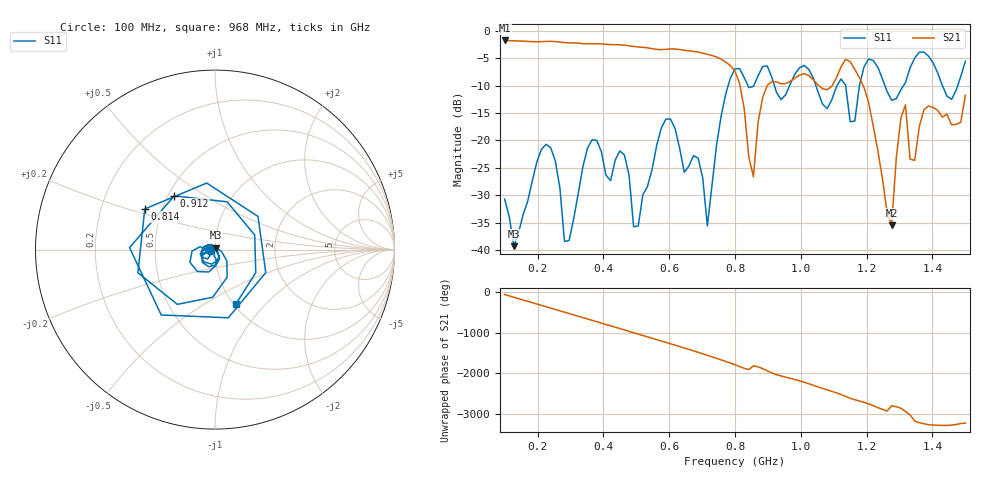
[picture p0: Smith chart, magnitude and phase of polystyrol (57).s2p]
! NanoVNA-App
! Date: 2025-09-26 09:42:19
! Start: 100MHz Stop: 1,5GHz Points: 101
! S-Parameter data: F S11 S21 S12 S22
# Hz S RI R 50
!  Frequency  S11_Real  S11_Imag  S21_Real  S21_Imag  S12_Real  S12_Imag  S22_Real  S22_Imag
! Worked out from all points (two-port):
!   101 points, 100 MHz to 1.5 GHz, reference 50 ohm
!   highest |S21| = -1.79 dB at 100 MHz (marker M1); lowest = -35.4 dB at 1.276 GHz (marker M2)
!   |S21| within 3 dB of the highest: start of sweep to 743.3 MHz
!   lowest |S11| = -39.2 dB at 128 MHz (marker M3), VSWR 1.02, Z = 50.3 + j1.06 ohm
!   |S11| at or under -10 dB: start of sweep to 779.3 MHz; 1.046 GHz to 1.11 GHz (64.58 MHz wide, 5.99 % of centre); 1.255 GHz to 1.312 GHz (56.79 MHz wide, 4.42 % of centre)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
!   S12 and S22 are empty: the file has one direction only
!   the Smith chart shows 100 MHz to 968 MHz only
!   S11 on the Smith chart (normalised r, x): 100 MHz: 0.94, -0.01; 814 MHz: 0.40, +0.23; 912 MHz: 0.54, +0.38; 968 MHz: 1.02, -0.70
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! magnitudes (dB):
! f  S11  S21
! 100 MHz  -30.7  -1.8
! 128 MHz  -39.2  -1.9
! 212 MHz  -21.6  -2.0
! 254 MHz  -23.7  -2.0
! 282 MHz  -38.4  -2.2
! 338 MHz  -24.7  -2.4
! 464 MHz  -22.6  -2.6
! 506 MHz  -35.6  -3.0
! 576 MHz  -17.8  -3.5
! 688 MHz  -23.2  -3.9
! 716 MHz  -35.6  -4.3
! 800 MHz  -7.0  -7.4
! 814 MHz  -6.9  -9.6
! 856 MHz  -10.2  -26.6
! 912 MHz  -8.5  -9.2
! 968 MHz  -9.7  -9.2
! 1.038 GHz  -8.6  -9.0
! 1.178 GHz  -10.0  -8.6
! 1.276 GHz  -12.7  -35.4
! 1.318 GHz  -9.5  -13.5
! 1.346 GHz  -5.0  -23.6
! 1.5 GHz  -5.6  -11.8
